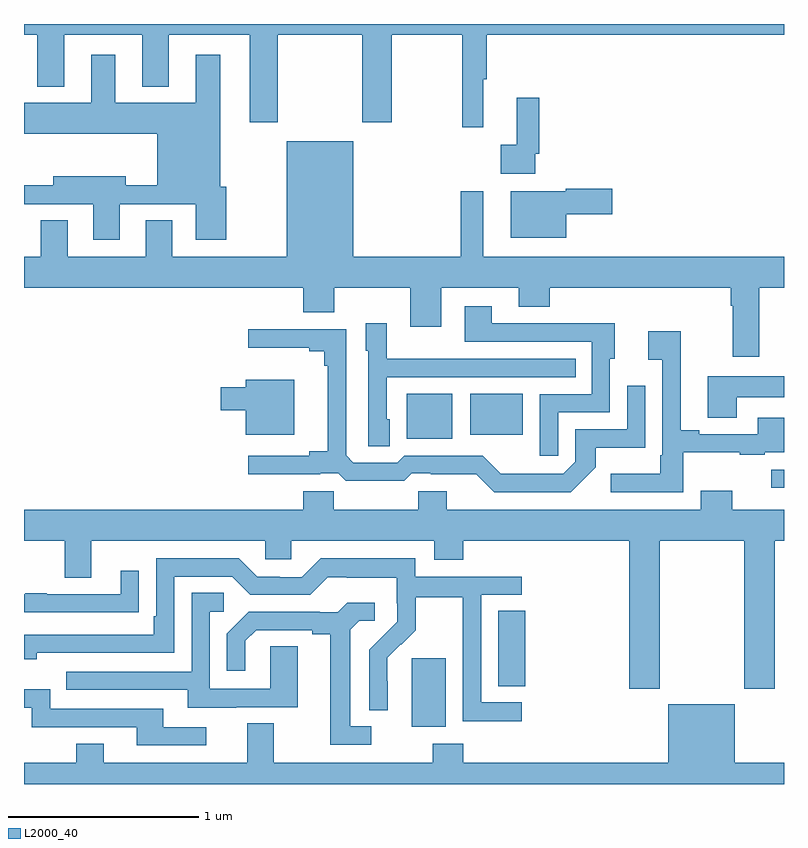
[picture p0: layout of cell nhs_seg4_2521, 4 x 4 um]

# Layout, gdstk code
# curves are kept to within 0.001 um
import gdstk
lib = gdstk.Library(unit=1e-6, precision=1e-09)
def R(c, l, rs):  # rectangles x0, y0, x1, y1
    for r in rs: c.add(gdstk.rectangle(r[:2], r[2:], *l))
def P(c, l, *ps):  # polygons
    for p in ps: c.add(gdstk.Polygon(p, *l))
L2000_40 = (2000, 40)

nhs_seg4_2521 = lib.new_cell('nhs_seg4_2521')
R(nhs_seg4_2521, L2000_40, [(245.042,769.202,245.221,769.563), (245.495,769.414,245.639,769.811), (246.933,770.459,247,770.553), (245.015,770.717,245.254,770.953), (245.348,770.738,245.626,770.953)])
P(nhs_seg4_2521, L2000_40, [(247,772.9),(243,772.9),(243,772.844),(243.071,772.844),(243.071,772.571),(243.211,772.571),(243.211,772.844),(243.623,772.844),(243.623,772.571),(243.763,772.571),(243.763,772.844),(244.187,772.844),(244.187,772.383),(244.335,772.383),(244.335,772.844),(244.78,772.844),(244.78,772.383),(244.935,772.383),(244.935,772.844),(245.307,772.844),(245.307,772.356),(245.417,772.356),(245.417,772.608),(245.435,772.608),(245.435,772.844),(247,772.844)],
  [(243.505,771.951),(243.905,771.951),(243.905,771.765),(244.065,771.765),(244.065,772.044),(244.033,772.044),(244.033,772.738),(243.905,772.738),(243.905,772.486),(243.481,772.486),(243.481,772.738),(243.353,772.738),(243.353,772.486),(243,772.486),(243,772.322),(243.701,772.322),(243.701,772.052),(243.535,772.052),(243.535,772.099),(243.155,772.099),(243.155,772.052),(243,772.052),(243,771.951),(243.365,771.951),(243.365,771.765),(243.505,771.765)],
  [(245.691,772.216),(245.711,772.216),(245.711,772.513),(245.594,772.513),(245.594,772.265),(245.508,772.265),(245.508,772.112),(245.691,772.112)],
  [(246.871,771.512),(247,771.512),(247,771.676),(245.416,771.676),(245.416,772.021),(245.299,772.021),(245.299,771.676),(244.732,771.676),(244.732,772.282),(244.382,772.282),(244.382,771.676),(243.781,771.676),(243.781,771.866),(243.641,771.866),(243.641,771.676),(243.229,771.676),(243.229,771.866),(243.089,771.866),(243.089,771.676),(243,771.676),(243,771.512),(244.469,771.512),(244.469,771.384),(244.633,771.384),(244.633,771.512),(245.033,771.512),(245.033,771.306),(245.197,771.306),(245.197,771.512),(245.603,771.512),(245.603,771.413),(245.767,771.413),(245.767,771.512),(246.719,771.512),(246.719,771.416),(246.731,771.416),(246.731,771.15),(246.871,771.15)],
  [(245.854,771.899),(246.097,771.899),(246.097,772.034),(245.85,772.034),(245.85,772.021),(245.561,772.021),(245.561,771.776),(245.854,771.776)],
  [(245.811,770.856),(246.084,770.856),(246.084,771.138),(246.109,771.138),(246.109,771.326),(245.891,771.326),(245.891,771.324),(245.461,771.324),(245.461,771.415),(245.321,771.415),(245.321,771.228),(245.988,771.228),(245.988,770.952),(245.715,770.952),(245.715,770.628),(245.811,770.628)],
  [(244.924,770.82),(244.908,770.82),(244.908,771.042),(245.903,771.042),(245.903,771.138),(245.225,771.138),(245.225,771.139),(244.908,771.139),(244.908,771.325),(244.799,771.325),(244.799,771.18),(244.812,771.18),(244.812,770.677),(244.924,770.677)],
  [(246.009,770.567),(246.009,770.669),(246.27,770.669),(246.27,770.995),(246.174,770.995),(246.174,770.766),(245.901,770.766),(245.901,770.595),(245.838,770.532),(245.614,770.532),(245.614,770.534),(245.51,770.534),(245.415,770.628),(245.001,770.628),(244.965,770.592),(244.734,770.592),(244.695,770.631),(244.695,771.294),(244.179,771.294),(244.179,771.197),(244.502,771.197),(244.502,771.178),(244.579,771.178),(244.579,771.101),(244.598,771.101),(244.598,770.651),(244.502,770.651),(244.502,770.628),(244.179,770.628),(244.179,770.531),(244.559,770.531),(244.559,770.535),(244.653,770.535),(244.693,770.496),(245.001,770.496),(245.04,770.535),(245.14,770.535),(245.14,770.531),(245.381,770.531),(245.475,770.436),(245.878,770.436)],
  [(246.469,770.645),(246.767,770.645),(246.767,770.634),(246.899,770.634),(246.899,770.646),(247,770.646),(247,770.827),(246.863,770.827),(246.863,770.742),(246.553,770.742),(246.553,770.761),(246.457,770.761),(246.457,771.283),(246.285,771.283),(246.285,771.134),(246.36,771.134),(246.36,770.629),(246.348,770.629),(246.348,770.533),(246.087,770.533),(246.087,770.436),(246.469,770.436)],
  [(246.751,770.936),(247,770.936),(247,771.046),(246.599,771.046),(246.599,770.827),(246.751,770.827)],
  [(244.423,771.028),(244.166,771.028),(244.166,770.989),(244.035,770.989),(244.035,770.867),(244.166,770.867),(244.166,770.738),(244.423,770.738)],
  [(244.469,770.442),(244.469,770.344),(243,770.344),(243,770.18),(243.215,770.18),(243.215,769.986),(243.355,769.986),(243.355,770.18),(244.269,770.18),(244.269,770.082),(244.407,770.082),(244.407,770.18),(245.159,770.18),(245.159,770.081),(245.312,770.081),(245.312,770.18),(246.185,770.18),(246.185,769.401),(246.345,769.401),(246.345,770.18),(246.79,770.18),(246.79,769.401),(246.95,769.401),(246.95,770.18),(247,770.18),(247,770.344),(246.727,770.344),(246.727,770.443),(246.563,770.443),(246.563,770.344),(245.224,770.344),(245.224,770.442),(245.074,770.442),(245.074,770.344),(244.629,770.344),(244.629,770.442)],
  [(245.62,769.329),(245.406,769.329),(245.406,769.896),(245.62,769.896),(245.62,769.992),(245.058,769.992),(245.058,770.089),(244.561,770.089),(244.461,769.989),(244.346,769.989),(244.346,769.992),(244.227,769.992),(244.131,770.088),(243.696,770.088),(243.696,769.783),(243.683,769.783),(243.683,769.686),(243,769.686),(243,769.556),(243.068,769.556),(243.068,769.59),(243.792,769.59),(243.792,769.992),(244.095,769.992),(244.191,769.896),(244.506,769.896),(244.599,769.989),(244.699,769.989),(244.699,769.985),(244.962,769.985),(244.962,769.851),(244.964,769.851),(244.964,769.754),(244.818,769.606),(244.818,769.288),(244.914,769.288),(244.913,769.565),(244.983,769.635),(244.986,769.632),(245.063,769.709),(245.063,769.884),(245.308,769.884),(245.308,769.66),(245.31,769.66),(245.31,769.231),(245.62,769.231)],
  [(243.503,769.804),(243.605,769.804),(243.605,770.023),(243.509,770.023),(243.509,769.899),(243.119,769.899),(243.119,769.904),(243.007,769.904),(243.007,769.899),(243,769.899),(243,769.803),(243.503,769.803)],
  [(244.117,769.305),(244.441,769.305),(244.441,769.625),(244.296,769.625),(244.296,769.401),(243.978,769.401),(243.978,769.806),(244.051,769.806),(244.051,769.907),(243.882,769.907),(243.882,769.491),(243.223,769.491),(243.223,769.395),(243.863,769.395),(243.863,769.301),(244.117,769.301)],
  [(244.828,769.203),(244.717,769.203),(244.717,769.711),(244.764,769.758),(244.846,769.758),(244.846,769.855),(244.702,769.855),(244.65,769.803),(244.556,769.803),(244.556,769.806),(244.184,769.806),(244.068,769.69),(244.068,769.497),(244.165,769.497),(244.165,769.653),(244.222,769.71),(244.517,769.71),(244.517,769.688),(244.613,769.688),(244.613,769.107),(244.828,769.107)],
  [(243.958,769.2),(243.733,769.2),(243.733,769.296),(243.138,769.296),(243.138,769.399),(243,769.399),(243,769.302),(243.042,769.302),(243.042,769.2),(243.593,769.2),(243.593,769.104),(243.958,769.104)],
  [(247,769.012),(246.742,769.012),(246.742,769.321),(246.392,769.321),(246.392,769.012),(245.312,769.012),(245.312,769.111),(245.152,769.111),(245.152,769.012),(244.315,769.012),(244.315,769.22),(244.175,769.22),(244.175,769.012),(243.421,769.012),(243.421,769.111),(243.274,769.111),(243.274,769.012),(243,769.012),(243,768.9),(247,768.9)])

lib.write_gds('nhs_seg4_2521.gds')
